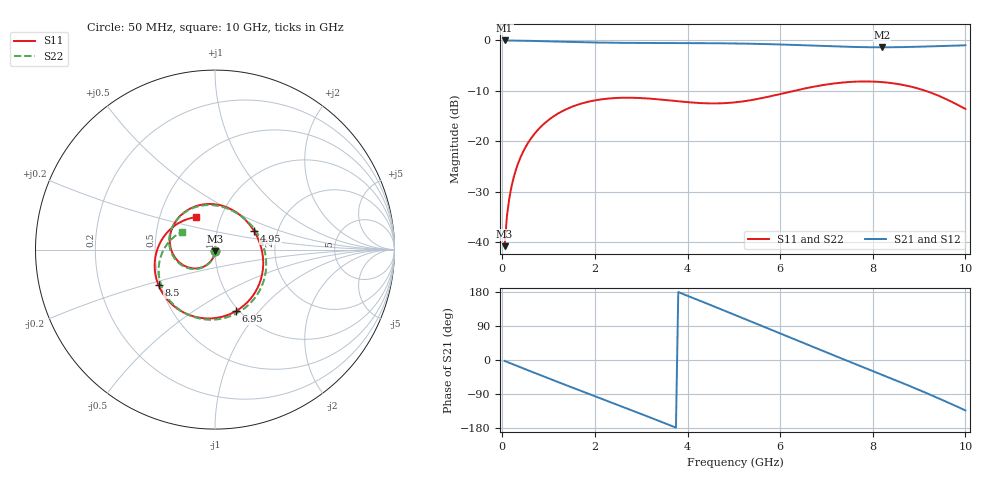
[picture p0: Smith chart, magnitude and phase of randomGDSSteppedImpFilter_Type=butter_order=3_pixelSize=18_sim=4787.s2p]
! freq	dB(S11)	phase(S11)	dB(S12)	phase(S12)
!  dB(S21)	phase(S21)	dB(S22)	phase(S22)
!S-par simulation data
#  GHz  S  DB  R 50
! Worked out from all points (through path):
!   200 points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, 50 MHz to 10 GHz, reference 50 ohm
!   highest |S21| = 0.00 dB at 50 MHz (marker M1); lowest = -1.4 dB at 8.2 GHz (marker M2)
!   group delay of S21, straight-line fit = 136 ps
!   lowest |S11| = -40.8 dB at 50 MHz (marker M3), VSWR 1.02, Z = 50 - j0.906 ohm
!   |S11| at or under -10 dB: start of sweep to 6.305 GHz; 9.138 GHz to end of sweep
!   |S22| runs from -40.9 to -8.1 dB; largest |S21 - S12| = 0
!   S11 on the Smith chart (normalised r, x): 50 MHz: 1.00, -0.02; 4.95 GHz: 1.51, +0.33; 6.95 GHz: 0.97, -0.76; 8.5 GHz: 0.49, -0.22; 10 GHz: 0.76, +0.29
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0.05  -40.85 -91.7  -0.00 -2.5  -0.00 -2.5  -40.85 -91.6
0.1  -34.90 -94.5  -0.01 -4.9  -0.01 -4.9  -34.90 -94.3
0.2  -28.96 -100.0  -0.02 -9.8  -0.02 -9.8  -28.96 -99.6
0.5  -21.22 -115.3  -0.07 -24.4  -0.07 -24.4  -21.22 -114.4
1.15  -14.82 -147.4  -0.21 -55.6  -0.21 -55.6  -14.82 -145.3
1.75  -12.42 -176.5  -0.36 -83.9  -0.36 -83.9  -12.42 -173.0
2.5  -11.41 147.3  -0.47 -119.0  -0.47 -119.0  -11.41 153.0
3.4  -11.72 103.0  -0.51 -161.6  -0.51 -161.6  -11.73 112.2
4.15  -12.36 65.3  -0.53 162.1  -0.53 162.1  -12.38 77.5
4.95  -12.36 25.2  -0.59 122.6  -0.59 122.6  -12.37 39.1
5.05  -12.27 20.3  -0.60 117.6  -0.60 117.6  -12.28 34.2
5.45  -11.73 0.8  -0.67 97.6  -0.67 97.6  -11.75 14.3
5.85  -10.96 -18.5  -0.76 77.5  -0.76 77.5  -10.98 -5.9
6.7  -9.23 -59.3  -1.02 35.0  -1.02 35.0  -9.21 -48.8
6.95  -8.83 -71.3  -1.11 22.5  -1.11 22.5  -8.80 -61.2
7.55  -8.22 -100.3  -1.29 -7.0  -1.29 -7.0  -8.18 -90.4
8.2  -8.27 -132.4  -1.36 -38.8  -1.36 -38.8  -8.22 -121.5
8.35  -8.41 -140.0  -1.36 -46.2  -1.36 -46.2  -8.35 -128.7
8.5  -8.59 -147.8  -1.34 -53.7  -1.34 -53.7  -8.52 -135.9
9.3  -10.53 167.5  -1.16 -94.7  -1.16 -94.7  -10.45 -174.4
9.65  -11.94 145.1  -1.06 -113.5  -1.06 -113.5  -11.86 168.7
10  -13.60 119.8  -0.97 -133.0  -0.97 -133.0  -13.62 151.6
